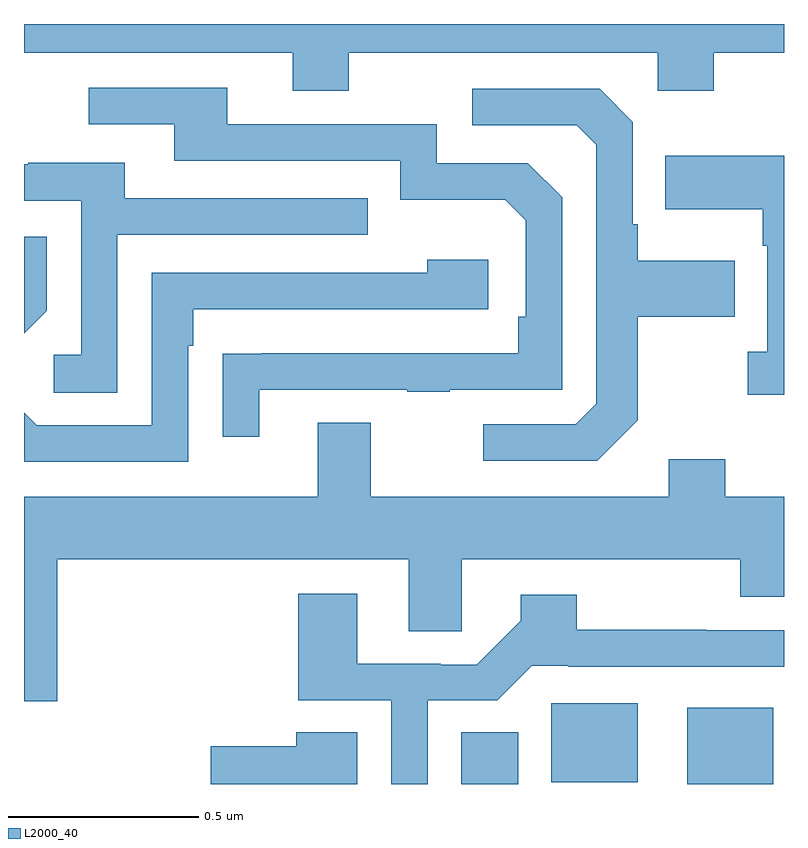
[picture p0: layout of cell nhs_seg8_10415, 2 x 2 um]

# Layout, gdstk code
import gdstk
lib = gdstk.Library(unit=1e-6, precision=1e-09)
def R(c, l, rs):  # rectangles x0, y0, x1, y1
    for r in rs: c.add(gdstk.rectangle(r[:2], r[2:], *l))
def P(c, l, *ps):  # polygons
    for p in ps: c.add(gdstk.Polygon(p, *l))
L2000_40 = (2000, 40)

nhs_seg8_10415 = lib.new_cell('nhs_seg8_10415')
R(nhs_seg8_10415, L2000_40, [(250.151,1123.9,250.3,1124.036), (250.745,1123.9,250.972,1124.101), (250.388,1123.904,250.615,1124.113)])
P(nhs_seg8_10415, L2000_40, [(249.855,1125.824),(250.668,1125.824),(250.668,1125.725),(250.815,1125.725),(250.815,1125.824),(251,1125.824),(251,1125.9),(249,1125.9),(249,1125.824),(249.707,1125.824),(249.707,1125.725),(249.855,1125.725)],
  [(249.619,1124.937),(250.009,1124.937),(250.009,1124.932),(250.121,1124.932),(250.121,1124.937),(250.416,1124.937),(250.416,1125.444),(250.326,1125.534),(250.086,1125.534),(250.086,1125.636),(249.535,1125.636),(249.535,1125.732),(249.171,1125.732),(249.171,1125.636),(249.395,1125.636),(249.395,1125.54),(249.99,1125.54),(249.99,1125.437),(250.267,1125.437),(250.32,1125.384),(250.32,1125.13),(250.3,1125.13),(250.3,1125.033),(249.625,1125.033),(249.625,1125.032),(249.523,1125.032),(249.523,1124.814),(249.619,1124.814)],
  [(250.615,1124.857),(250.615,1125.13),(250.871,1125.13),(250.871,1125.277),(250.615,1125.277),(250.615,1125.373),(250.602,1125.373),(250.602,1125.642),(250.515,1125.729),(250.179,1125.729),(250.179,1125.633),(250.455,1125.633),(250.506,1125.582),(250.506,1124.901),(250.452,1124.847),(250.209,1124.847),(250.209,1124.751),(250.509,1124.751)],
  [(251,1125.553),(250.687,1125.553),(250.687,1125.413),(250.944,1125.413),(250.944,1125.317),(250.956,1125.317),(250.956,1125.038),(250.905,1125.038),(250.905,1124.925),(251,1124.925)],
  [(249.246,1125.345),(249.905,1125.345),(249.905,1125.441),(249.265,1125.441),(249.265,1125.535),(249.011,1125.535),(249.011,1125.531),(249,1125.531),(249,1125.435),(249.15,1125.435),(249.15,1125.03),(249.078,1125.03),(249.078,1124.929),(249.246,1124.929)],
  [(249.06,1125.146),(249.06,1125.34),(249,1125.34),(249,1125.086)],
  [(249.432,1125.053),(249.445,1125.053),(249.445,1125.15),(250.222,1125.15),(250.222,1125.28),(250.061,1125.28),(250.061,1125.246),(249.336,1125.246),(249.336,1124.844),(249.033,1124.844),(249,1124.877),(249,1124.748),(249.432,1124.748)],
  [(249.088,1124.492),(250.013,1124.492),(250.013,1124.302),(250.152,1124.302),(250.152,1124.492),(250.885,1124.492),(250.885,1124.393),(251,1124.393),(251,1124.656),(250.845,1124.656),(250.845,1124.755),(250.697,1124.755),(250.697,1124.656),(249.913,1124.656),(249.913,1124.851),(249.773,1124.851),(249.773,1124.656),(249,1124.656),(249,1124.118),(249.088,1124.118)],
  [(250.062,1124.121),(250.246,1124.121),(250.336,1124.211),(250.432,1124.211),(250.432,1124.208),(251,1124.208),(251,1124.304),(250.796,1124.304),(250.796,1124.306),(250.455,1124.306),(250.455,1124.398),(250.307,1124.398),(250.307,1124.33),(250.191,1124.214),(250.097,1124.214),(250.097,1124.217),(249.877,1124.217),(249.877,1124.401),(249.722,1124.401),(249.722,1124.121),(249.966,1124.121),(249.966,1123.9),(250.062,1123.9)],
  [(249.877,1124.036),(249.716,1124.036),(249.716,1124),(249.492,1124),(249.492,1123.9),(249.877,1123.9)])

lib.write_gds('nhs_seg8_10415.gds')
